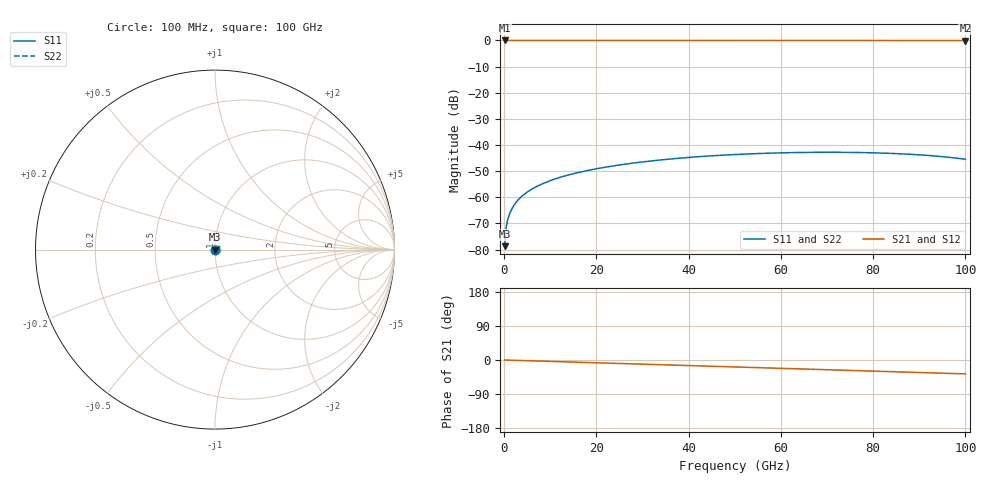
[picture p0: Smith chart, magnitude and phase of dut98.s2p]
! Touchstone file exported from HFSS 2026.1.0
!  File:  C:/ffzhzh/LocalFiles/Ansys_Project_Files/temp_train_TSV_98_1783505726_55944.aedt
!  Generated:  06:16:39 PM Jul  8, 2026
!  Design:  TSV
!  Project:  temp_train_TSV_98_1783505726_55944
! Variables:
!  h_bsmrdl = 2um
!  h_ox = 20um
!  h_rdl = 5um
!  h_sub = 71.94um
!  h_tmrdl = 5um
!  h_tsv = 71.94um
!  h_via = 3um
!  l_bsmrdl = 300um
!  l_sub = 422um
!  l_tmrdl = 200um
!  m_sub = 200um
!  pitch = 45.38um
!  r_tsv = 11um
!  s_tmrdl = 10um
!  w_bsmrdl = 18um
!  w_sub = 500um
!  w_tmrdl = 12um
!  x_tsv_center1 = 206um
!  x_tsv_center2 = 524um
!  x_tsv_center3 = 736um
!  x_tsv_center4 = 1054um
!  x_tsv_center5 = 1266um
!  x_tsv_center6 = 1584um
# GHz S MA R 50.000000
! Terminal data exported
! Port[1] = TSV1_1_T1
! Port[2] = TSV1_1_T2
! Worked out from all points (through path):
!   1000 points, 100 MHz to 100 GHz, reference 50 ohm
!   highest |S21| = 0.00 dB at 100 MHz (marker M1); lowest = 0.0 dB at 100 GHz (marker M2)
!   group delay of S21, straight-line fit = 1.02 ps
!   lowest |S11| = -78.7 dB at 100 MHz (marker M3), VSWR 1.00, Z = 50 + j0.00553 ohm
!   |S11| at or under -10 dB: start of sweep to end of sweep
!   |S22| runs from -78.7 to -42.8 dB; largest |S21 - S12| = 3.7e-15
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0.1  0.0001162 28.4  0.9999 -0.0  0.9999 -0.0  0.0001162 28.4
! Gamma 0 0 0 0
! Port Impedance 50 0 50 0
0.4  0.0002443 51.5  0.9998 -0.2  0.9998 -0.2  0.0002443 51.5
0.8  0.0003798 54.3  0.9998 -0.3  0.9998 -0.3  0.0003798 54.3
1  0.0004345 55.1  0.9998 -0.4  0.9998 -0.4  0.0004345 55.1
1.3  0.0005104 56.4  0.9997 -0.5  0.9997 -0.5  0.0005104 56.4
1.8  0.0006288 58.1  0.9997 -0.7  0.9997 -0.7  0.0006288 58.1
2.4  0.0007619 59.4  0.9996 -0.9  0.9996 -0.9  0.0007619 59.4
3.1  0.0009062 60.4  0.9996 -1.2  0.9996 -1.2  0.0009062 60.4
3.9  0.00106 61.3  0.9995 -1.4  0.9995 -1.4  0.00106 61.3
6.1  0.001448 63.0  0.9994 -2.3  0.9994 -2.3  0.001448 63.0
8.9  0.001908 64.1  0.9993 -3.3  0.9993 -3.3  0.001908 64.1
12.5  0.002465 64.3  0.9991 -4.6  0.9991 -4.6  0.002465 64.3
16.8  0.003079 64.3  0.999 -6.2  0.999 -6.2  0.003079 64.3
24.4  0.004077 63.5  0.9988 -8.9  0.9988 -8.9  0.004077 63.5
33.4  0.005126 61.7  0.9985 -12.2  0.9985 -12.2  0.005126 61.7
41.4  0.005913 59.4  0.9984 -15.1  0.9984 -15.1  0.005913 59.4
50.1  0.006584 56.5  0.9982 -18.3  0.9982 -18.3  0.006583 56.5
66.7  0.007244 50.0  0.9979 -24.4  0.9979 -24.4  0.007243 50.0
75.3  0.007224 46.2  0.9977 -27.5  0.9977 -27.5  0.007223 46.2
83.4  0.006942 42.0  0.9976 -30.5  0.9976 -30.5  0.00694 42.0
92.3  0.006282 36.4  0.9974 -33.8  0.9974 -33.8  0.006279 36.4
100  0.005345 30.1  0.9973 -36.6  0.9973 -36.6  0.005341 30.1
